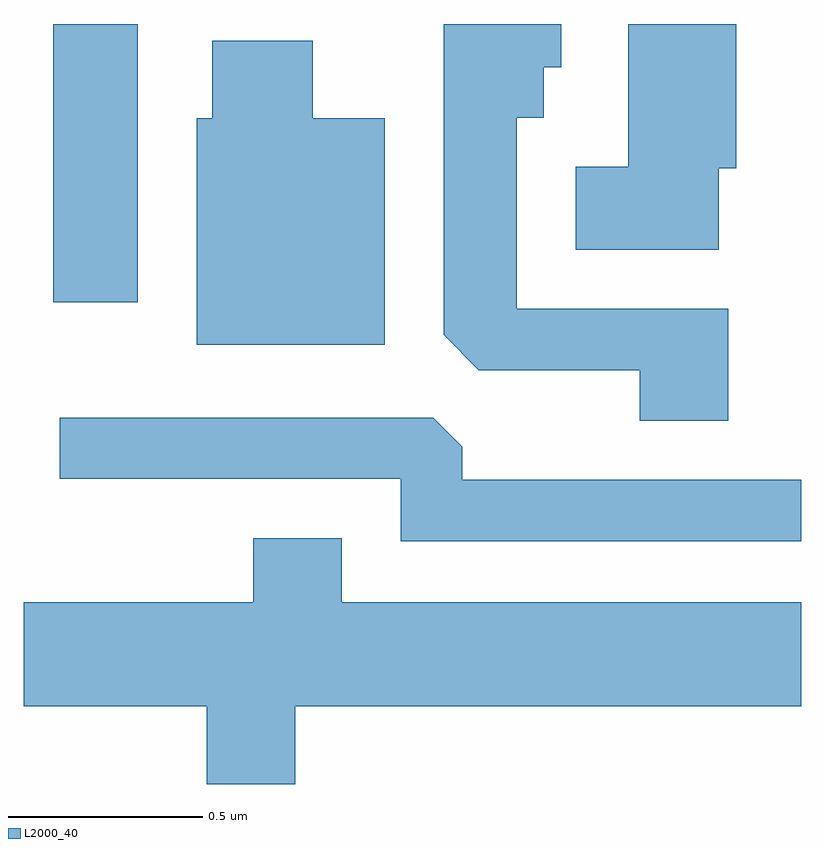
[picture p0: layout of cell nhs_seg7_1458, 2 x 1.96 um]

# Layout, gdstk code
import gdstk
lib = gdstk.Library(unit=1e-6, precision=1e-09)
def R(c, l, rs):  # rectangles x0, y0, x1, y1
    for r in rs: c.add(gdstk.rectangle(r[:2], r[2:], *l))
def P(c, l, *ps):  # polygons
    for p in ps: c.add(gdstk.Polygon(p, *l))
L2000_40 = (2000, 40)

nhs_seg7_1458 = lib.new_cell('nhs_seg7_1458')
R(nhs_seg7_1458, L2000_40, [(195.686,1757.536,195.904,1758.252)])
P(nhs_seg7_1458, L2000_40, [(197.399,1757.881),(197.444,1757.881),(197.444,1758.252),(197.166,1758.252),(197.166,1757.884),(197.031,1757.884),(197.031,1757.671),(197.399,1757.671)],
  [(197.424,1757.519),(196.879,1757.519),(196.879,1758.011),(196.949,1758.011),(196.949,1758.141),(196.994,1758.141),(196.994,1758.252),(196.691,1758.252),(196.691,1757.452),(196.782,1757.361),(197.196,1757.361),(197.196,1757.231),(197.424,1757.231)],
  [(196.539,1758.009),(196.354,1758.009),(196.354,1758.209),(196.096,1758.209),(196.096,1758.009),(196.056,1758.009),(196.056,1757.426),(196.539,1757.426)],
  [(197.611,1757.079),(196.739,1757.079),(196.739,1757.164),(196.664,1757.239),(195.703,1757.239),(195.703,1757.081),(196.581,1757.081),(196.581,1756.921),(197.611,1756.921)],
  [(196.309,1756.496),(197.611,1756.496),(197.611,1756.764),(196.429,1756.764),(196.429,1756.929),(196.201,1756.929),(196.201,1756.764),(195.611,1756.764),(195.611,1756.496),(196.081,1756.496),(196.081,1756.296),(196.309,1756.296)])

lib.write_gds('nhs_seg7_1458.gds')
